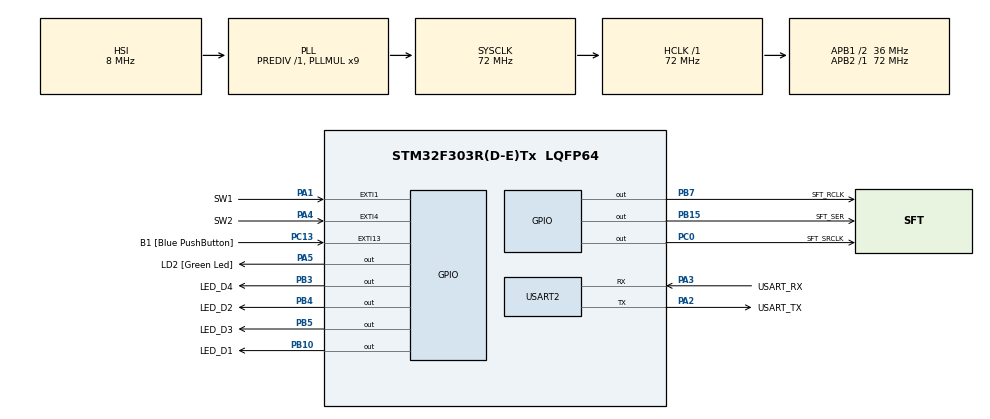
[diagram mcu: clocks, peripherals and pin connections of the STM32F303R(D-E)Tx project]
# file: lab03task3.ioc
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Mcu.Family=STM32F3
Mcu.Name=STM32F303R(D-E)Tx
Mcu.Package=LQFP64
NVIC.EXTI1_IRQn=true\:0\:0\:false\:false\:true\:true\:true\:true
NVIC.EXTI4_IRQn=true\:0\:0\:false\:false\:true\:true\:true\:true
NVIC.PriorityGroup=NVIC_PRIORITYGROUP_0
NVIC.TIM6_DAC_IRQn=true\:0\:0\:false\:false\:true\:true\:true\:true
PA1.GPIO_Label=SW1
PA1.Signal=GPXTI1
PA13.GPIO_Label=TMS
PA13.Mode=Serial_Wire
PA13.Signal=SYS_JTMS-SWDIO
PA14.GPIO_Label=TCK
PA14.Mode=Serial_Wire
PA14.Signal=SYS_JTCK-SWCLK
PA2.GPIO_Label=USART_TX
PA2.GPIO_Mode=GPIO_MODE_AF_PP
PA2.GPIO_PuPd=GPIO_NOPULL
PA2.GPIO_Speed=GPIO_SPEED_FREQ_LOW
PA2.Mode=Asynchronous
PA2.Signal=USART2_TX
PA3.GPIO_Label=USART_RX
PA3.GPIO_Mode=GPIO_MODE_AF_PP
PA3.GPIO_PuPd=GPIO_NOPULL
PA3.GPIO_Speed=GPIO_SPEED_FREQ_LOW
PA3.Mode=Asynchronous
PA3.Signal=USART2_RX
PA4.GPIO_Label=SW2
PA4.Signal=GPXTI4
PA5.GPIO_Label=LD2 [Green Led]
PA5.GPIO_Mode=GPIO_MODE_OUTPUT_PP
PA5.GPIO_PuPd=GPIO_NOPULL
PA5.GPIO_Speed=GPIO_SPEED_FREQ_LOW
PA5.Signal=GPIO_Output
PB10.GPIO_Label=LED_D1
PB10.Signal=GPIO_Output
PB15.GPIO_Label=SFT_SER
PB15.Signal=GPIO_Output
PB3.GPIO_Label=LED_D4
PB3.Signal=GPIO_Output
PB4.GPIO_Label=LED_D2
PB4.Signal=GPIO_Output
PB5.GPIO_Label=LED_D3
PB5.Signal=GPIO_Output
PB7.GPIO_Label=SFT_RCLK
PB7.Signal=GPIO_Output
PC0.GPIO_Label=SFT_SRCLK
PC0.Signal=GPIO_Output
PC13.GPIO_Label=B1 [Blue PushButton]
PC13.GPIO_ModeDefaultEXTI=GPIO_MODE_IT_FALLING
PC13.Signal=GPXTI13
PC14-OSC32_IN.Mode=LSE-External-Oscillator
PC14-OSC32_IN.Signal=RCC_OSC32_IN
PC15-OSC32_OUT.Mode=LSE-External-Oscillator
PC15-OSC32_OUT.Signal=RCC_OSC32_OUT
PF0-OSC_IN.Mode=HSE-External-Clock-Source
PF0-OSC_IN.Signal=RCC_OSC_IN
PF1-OSC_OUT.Signal=RCC_OSC_OUT
ProjectManager.HeapSize=0x200
ProjectManager.StackSize=0x400
ProjectManager.TargetToolchain=STM32CubeIDE
RCC.AHBFreq_Value=72000000
RCC.APB1CLKDivider=RCC_HCLK_DIV2
RCC.APB1Freq_Value=36000000
RCC.APB1TimFreq_Value=72000000
RCC.APB2Freq_Value=72000000
RCC.APB2TimFreq_Value=72000000
RCC.CortexFreq_Value=72000000
RCC.HCLKFreq_Value=72000000
RCC.HSE_VALUE=8000000
RCC.HSI_VALUE=8000000
RCC.PLLM=8
RCC.PLLMUL=RCC_PLL_MUL9
RCC.PLLN=336
RCC.PLLP=RCC_PLLP_DIV4
RCC.PLLQ=7
RCC.RCC_PLLsource_Clock_Source_FROM_HSE=RCC_HSE_PREDIV_DIV2
RCC.SYSCLKFreq_VALUE=72000000
RCC.SYSCLKSourceVirtual=RCC_SYSCLKSOURCE_PLLCLK
RCC.USBFreq_Value=72000000
TIM6.Period=7199
TIM6.Prescaler=9999
USART2.VirtualMode-Asynchronous=VM_ASYNC
VP_TIM6_VS_ClockSourceINT.Mode=Enable_Timer
board=NUCLEO-F303RE

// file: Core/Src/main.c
/* USER CODE BEGIN Header */
/**
  ******************************************************************************
  * @file           : main.c
  * @brief          : Main program body
  ******************************************************************************
  * @attention
  *
  * Copyright (c) 2024 STMicroelectronics.
  * All rights reserved.
  *
  * This software is licensed under terms that can be found in the LICENSE file
  * in the root directory of this software component.
  * If no LICENSE file comes with this software, it is provided AS-IS.
  *
  ******************************************************************************
  */
/* USER CODE END Header */
#include "main.h"

TIM_HandleTypeDef htim6;

UART_HandleTypeDef huart2;

/* USER CODE BEGIN PV */
volatile uint32_t period = 1000;
volatile uint32_t counter = 0;
/* USER CODE END PV */

void SystemClock_Config(void);
static void MX_GPIO_Init(void);
static void MX_USART2_UART_Init(void);
static void MX_TIM6_Init(void);

int main(void)
{

  /* MCU Configuration--------------------------------------------------------*/

  /* Reset of all peripherals, Initializes the Flash interface and the Systick. */
  HAL_Init();

  /* Configure the system clock */
  SystemClock_Config();

  /* Initialize all configured peripherals */
  MX_GPIO_Init();
  MX_USART2_UART_Init();
  MX_TIM6_Init();
  /* USER CODE BEGIN 2 */
  HAL_TIM_Base_Start_IT(&htim6);
  /* USER CODE END 2 */

  /* Infinite loop */
  while (1)
  {

  }
}

void SystemClock_Config(void)
{
  RCC_OscInitTypeDef RCC_OscInitStruct = {0};
  RCC_ClkInitTypeDef RCC_ClkInitStruct = {0};
  RCC_PeriphCLKInitTypeDef PeriphClkInit = {0};

  /** Initializes the RCC Oscillators according to the specified parameters
  * in the RCC_OscInitTypeDef structure.
  */
  RCC_OscInitStruct.OscillatorType = RCC_OSCILLATORTYPE_HSI;
  RCC_OscInitStruct.HSIState = RCC_HSI_ON;
  RCC_OscInitStruct.HSICalibrationValue = RCC_HSICALIBRATION_DEFAULT;
  RCC_OscInitStruct.PLL.PLLState = RCC_PLL_ON;
  RCC_OscInitStruct.PLL.PLLSource = RCC_PLLSOURCE_HSI;
  RCC_OscInitStruct.PLL.PLLMUL = RCC_PLL_MUL9;
  RCC_OscInitStruct.PLL.PREDIV = RCC_PREDIV_DIV1;
  if (HAL_RCC_OscConfig(&RCC_OscInitStruct) != HAL_OK)
  {
    Error_Handler();
  }

  /** Initializes the CPU, AHB and APB buses clocks
  */
  RCC_ClkInitStruct.ClockType = RCC_CLOCKTYPE_HCLK|RCC_CLOCKTYPE_SYSCLK
                              |RCC_CLOCKTYPE_PCLK1|RCC_CLOCKTYPE_PCLK2;
  RCC_ClkInitStruct.SYSCLKSource = RCC_SYSCLKSOURCE_PLLCLK;
  RCC_ClkInitStruct.AHBCLKDivider = RCC_SYSCLK_DIV1;
  RCC_ClkInitStruct.APB1CLKDivider = RCC_HCLK_DIV2;
  RCC_ClkInitStruct.APB2CLKDivider = RCC_HCLK_DIV1;

  if (HAL_RCC_ClockConfig(&RCC_ClkInitStruct, FLASH_LATENCY_2) != HAL_OK)
  {
    Error_Handler();
  }
  PeriphClkInit.PeriphClockSelection = RCC_PERIPHCLK_USART2;
  PeriphClkInit.Usart2ClockSelection = RCC_USART2CLKSOURCE_PCLK1;
  if (HAL_RCCEx_PeriphCLKConfig(&PeriphClkInit) != HAL_OK)
  {
    Error_Handler();
  }
}

static void MX_TIM6_Init(void)
{

  TIM_MasterConfigTypeDef sMasterConfig = {0};

  htim6.Instance = TIM6;
  htim6.Init.Prescaler = 9;
  htim6.Init.CounterMode = TIM_COUNTERMODE_UP;
  htim6.Init.Period = 7199;
  htim6.Init.AutoReloadPreload = TIM_AUTORELOAD_PRELOAD_DISABLE;
  if (HAL_TIM_Base_Init(&htim6) != HAL_OK)
  {
    Error_Handler();
  }
  sMasterConfig.MasterOutputTrigger = TIM_TRGO_RESET;
  sMasterConfig.MasterSlaveMode = TIM_MASTERSLAVEMODE_DISABLE;
  if (HAL_TIMEx_MasterConfigSynchronization(&htim6, &sMasterConfig) != HAL_OK)
  {
    Error_Handler();
  }
  /* USER CODE BEGIN TIM6_Init 2 */
//  HAL_NVIC_SetPriority(TIM6_DAC_IRQn, 1, 0);
//  HAL_NVIC_EnableIRQ(TIM6_DAC_IRQn);
  /* USER CODE END TIM6_Init 2 */

}

static void MX_USART2_UART_Init(void)
{

  huart2.Instance = USART2;
  huart2.Init.BaudRate = 38400;
  huart2.Init.WordLength = UART_WORDLENGTH_8B;
  huart2.Init.StopBits = UART_STOPBITS_1;
  huart2.Init.Parity = UART_PARITY_NONE;
  huart2.Init.Mode = UART_MODE_TX_RX;
  huart2.Init.HwFlowCtl = UART_HWCONTROL_NONE;
  huart2.Init.OverSampling = UART_OVERSAMPLING_16;
  huart2.Init.OneBitSampling = UART_ONE_BIT_SAMPLE_DISABLE;
  huart2.AdvancedInit.AdvFeatureInit = UART_ADVFEATURE_NO_INIT;
  if (HAL_UART_Init(&huart2) != HAL_OK)
  {
    Error_Handler();
  }

}

static void MX_GPIO_Init(void)
{
  GPIO_InitTypeDef GPIO_InitStruct = {0};

  /* GPIO Ports Clock Enable */
  __HAL_RCC_GPIOC_CLK_ENABLE();
  __HAL_RCC_GPIOF_CLK_ENABLE();
  __HAL_RCC_GPIOA_CLK_ENABLE();
  __HAL_RCC_GPIOB_CLK_ENABLE();

  /*Configure GPIO pin Output Level */
  HAL_GPIO_WritePin(SFT_SRCLK_GPIO_Port, SFT_SRCLK_Pin, GPIO_PIN_RESET);

  /*Configure GPIO pin Output Level */
  HAL_GPIO_WritePin(LD2_GPIO_Port, LD2_Pin, GPIO_PIN_RESET);

  /*Configure GPIO pin Output Level */
  HAL_GPIO_WritePin(GPIOB, LED_D1_Pin|SFT_SER_Pin|LED_D4_Pin|LED_D2_Pin
                          |LED_D3_Pin|SFT_RCLK_Pin, GPIO_PIN_RESET);

  /*Configure GPIO pin : B1_Pin */
  GPIO_InitStruct.Pin = B1_Pin;
  GPIO_InitStruct.Mode = GPIO_MODE_IT_FALLING;
  GPIO_InitStruct.Pull = GPIO_NOPULL;
  HAL_GPIO_Init(B1_GPIO_Port, &GPIO_InitStruct);

  /*Configure GPIO pin : SFT_SRCLK_Pin */
  GPIO_InitStruct.Pin = SFT_SRCLK_Pin;
  GPIO_InitStruct.Mode = GPIO_MODE_OUTPUT_PP;
  GPIO_InitStruct.Pull = GPIO_NOPULL;
  GPIO_InitStruct.Speed = GPIO_SPEED_FREQ_LOW;
  HAL_GPIO_Init(SFT_SRCLK_GPIO_Port, &GPIO_InitStruct);

  /*Configure GPIO pins : SW1_Pin SW2_Pin */
  GPIO_InitStruct.Pin = SW1_Pin|SW2_Pin;
  GPIO_InitStruct.Mode = GPIO_MODE_IT_RISING;
  GPIO_InitStruct.Pull = GPIO_NOPULL;
  HAL_GPIO_Init(GPIOA, &GPIO_InitStruct);

  /*Configure GPIO pin : LD2_Pin */
  GPIO_InitStruct.Pin = LD2_Pin;
  GPIO_InitStruct.Mode = GPIO_MODE_OUTPUT_PP;
  GPIO_InitStruct.Pull = GPIO_NOPULL;
  GPIO_InitStruct.Speed = GPIO_SPEED_FREQ_LOW;
  HAL_GPIO_Init(LD2_GPIO_Port, &GPIO_InitStruct);

  /*Configure GPIO pins : LED_D1_Pin SFT_SER_Pin LED_D4_Pin LED_D2_Pin
                           LED_D3_Pin SFT_RCLK_Pin */
  GPIO_InitStruct.Pin = LED_D1_Pin|SFT_SER_Pin|LED_D4_Pin|LED_D2_Pin
                          |LED_D3_Pin|SFT_RCLK_Pin;
  GPIO_InitStruct.Mode = GPIO_MODE_OUTPUT_PP;
  GPIO_InitStruct.Pull = GPIO_NOPULL;
  GPIO_InitStruct.Speed = GPIO_SPEED_FREQ_LOW;
  HAL_GPIO_Init(GPIOB, &GPIO_InitStruct);

  /* EXTI interrupt init*/
  HAL_NVIC_SetPriority(EXTI1_IRQn, 0, 0);
  HAL_NVIC_EnableIRQ(EXTI1_IRQn);

  HAL_NVIC_SetPriority(EXTI4_IRQn, 0, 0);
  HAL_NVIC_EnableIRQ(EXTI4_IRQn);

}

/* USER CODE BEGIN 4 */
void HAL_GPIO_EXTI_Callback(uint16_t GPIO_Pin) {
	if (GPIO_Pin == SW1_Pin) {
		period /= 2;
		HAL_TIM_Base_Start_IT(&htim6);
	}

	if (GPIO_Pin == SW2_Pin) {
		period *= 2;
		HAL_TIM_Base_Start_IT(&htim6);
	}
}

void HAL_TIM_PeriodElapsedCallback(TIM_HandleTypeDef *htim) {
	if (counter < period) {
		counter++;
		return;
	}

	HAL_GPIO_TogglePin(SFT_SER_GPIO_Port, SFT_SER_Pin);
	for (int i = 0; i < 16; i++) {
		HAL_GPIO_WritePin(SFT_SRCLK_GPIO_Port, SFT_SRCLK_Pin, GPIO_PIN_SET);
		HAL_GPIO_WritePin(SFT_SRCLK_GPIO_Port, SFT_SRCLK_Pin, GPIO_PIN_RESET);
	}

	HAL_GPIO_TogglePin(LD2_Port, LD2_Pin);
	HAL_GPIO_TogglePin(LED_D1_GPIO_Port, LED_D1_Pin);
	HAL_GPIO_TogglePin(LED_D2_GPIO_Port, LED_D2_Pin);
	HAL_GPIO_TogglePin(LED_D3_GPIO_Port, LED_D3_Pin);
	HAL_GPIO_TogglePin(LED_D4_GPIO_Port, LED_D4_Pin);
	HAL_GPIO_WritePin(SFT_RCLK_GPIO_Port, SFT_RCLK_Pin, GPIO_PIN_SET);
	HAL_GPIO_WritePin(SFT_RCLK_GPIO_Port, SFT_RCLK_Pin, GPIO_PIN_RESET);

	counter = 0;
}
/* USER CODE END 4 */

void Error_Handler(void)
{
  __disable_irq();
  while (1)
  {
  }
}
